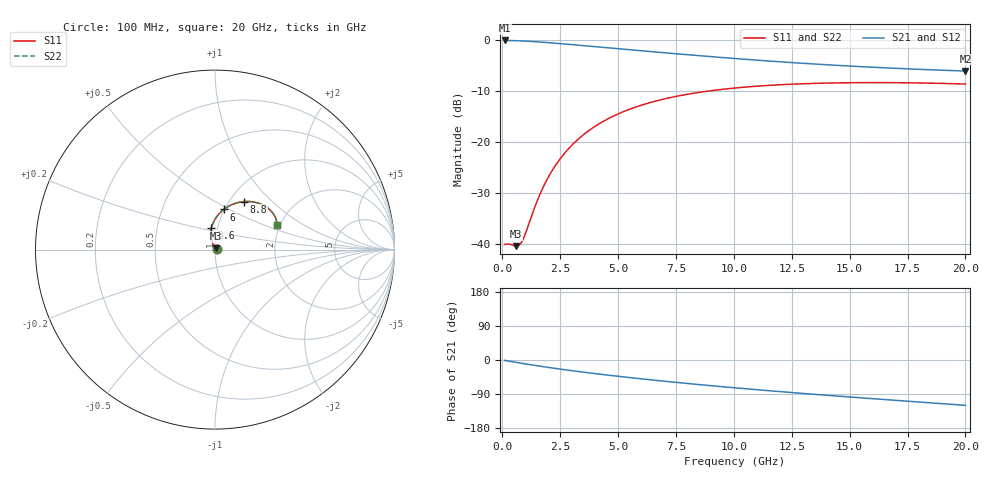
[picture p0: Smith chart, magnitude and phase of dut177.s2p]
! Touchstone file exported from HFSS 2024.1.0
!  File:  C:/UserFiles/LocalFiles/RDL_TSV_Batchsim/temp_RDL_TSV_177_1779438023.aedt
!  Generated:  04:37:28 PM May 22, 2026
!  Design:  RDL_TSV
!  Project:  temp_RDL_TSV_177_1779438023
!  Setup:  Setup1
!  Solution:  Sweep
! Variables:
!  dtsv = 6.55um
!  hbump = 3um
!  htsv = 77.96um
!  ldown = 242.56um
!  lrdl = 167.4um
!  p = 40
!  p1 = 47.74um
!  rhole = 10um
!  subl = 1397.28um
!  t = 450um
!  tdown = 4.58um
!  trdl = 3.29um
!  viad = 10um
!  wdown = 22.2um
!  wrdl = 12.69um
!  xbump = 18um
# GHz S MA R 50.000000
! Terminal data exported
! Port[1] = TM1_1_T1
! Port[2] = TM1_4_T1
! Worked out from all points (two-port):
!   200 points, 100 MHz to 20 GHz, reference 50 ohm
!   highest |S21| = -0.09 dB at 100 MHz (marker M1); lowest = -6.1 dB at 20 GHz (marker M2)
!   |S21| within 3 dB of the highest: start of sweep to 8.521 GHz
!   lowest |S11| = -40.5 dB at 600 MHz (marker M3), VSWR 1.02, Z = 50.7 + j0.641 ohm
!   |S11| at or under -10 dB: start of sweep to 8.938 GHz
!   |S22| runs from -40.5 to -8.4 dB; largest |S21 - S12| = 1.4e-13
!   S11 on the Smith chart (normalised r, x): 100 MHz: 1.02, +0.00; 3.6 GHz: 0.93, +0.23; 6 GHz: 0.99, +0.47; 8.8 GHz: 1.17, +0.69; 20 GHz: 1.92, +0.61
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0.1  0.009834 6.8  0.99 -1.1  0.99 -1.1  0.009834 6.8
! Gamma 0 0 0 0
! Port Impedance 50 0 50 0
0.3  0.009904 18.8  0.9883 -3.2  0.9883 -3.2  0.009904 18.8
0.6  0.009447 42.0  0.9841 -6.2  0.9841 -6.2  0.009447 42.0
0.7  0.009563 52.6  0.9822 -7.3  0.9822 -7.3  0.009564 52.6
0.8  0.01007 63.9  0.9802 -8.3  0.9802 -8.3  0.01007 63.9
0.9  0.01105 74.7  0.9779 -9.3  0.9779 -9.3  0.01105 74.7
1.6  0.02955 109.2  0.9568 -16.0  0.9568 -16.0  0.02954 109.1
1.8  0.03721 110.8  0.9496 -17.9  0.9496 -17.9  0.0372 110.8
2.1  0.04985 111.0  0.9381 -20.6  0.9381 -20.6  0.04984 111.0
2.7  0.07779 107.5  0.9137 -25.7  0.9137 -25.7  0.07777 107.5
3.1  0.09742 104.0  0.8971 -29.0  0.8971 -29.0  0.09738 104.0
3.5  0.1172 100.2  0.8805 -32.1  0.8805 -32.1  0.1172 100.2
3.6  0.1222 99.3  0.8764 -32.9  0.8764 -32.9  0.1221 99.3
4.1  0.1465 94.5  0.8561 -36.6  0.8561 -36.6  0.1464 94.5
4.7  0.1745 88.8  0.8324 -40.9  0.8324 -40.9  0.1744 88.8
6  0.2289 77.7  0.7839 -49.7  0.7839 -49.7  0.2288 77.7
6.8  0.2575 71.7  0.7559 -54.8  0.7559 -54.8  0.2574 71.6
8.8  0.3132 58.7  0.6926 -66.6  0.6926 -66.6  0.3131 58.7
10.1  0.3387 51.8  0.6565 -73.7  0.6565 -73.7  0.3386 51.8
13.4  0.3745 38.0  0.5825 -90.2  0.5825 -90.2  0.3744 38.0
16.7  0.3814 28.3  0.5307 -105.2  0.5307 -105.2  0.3813 28.3
20  0.3699 21.8  0.4957 -119.6  0.4957 -119.6  0.3698 21.8
